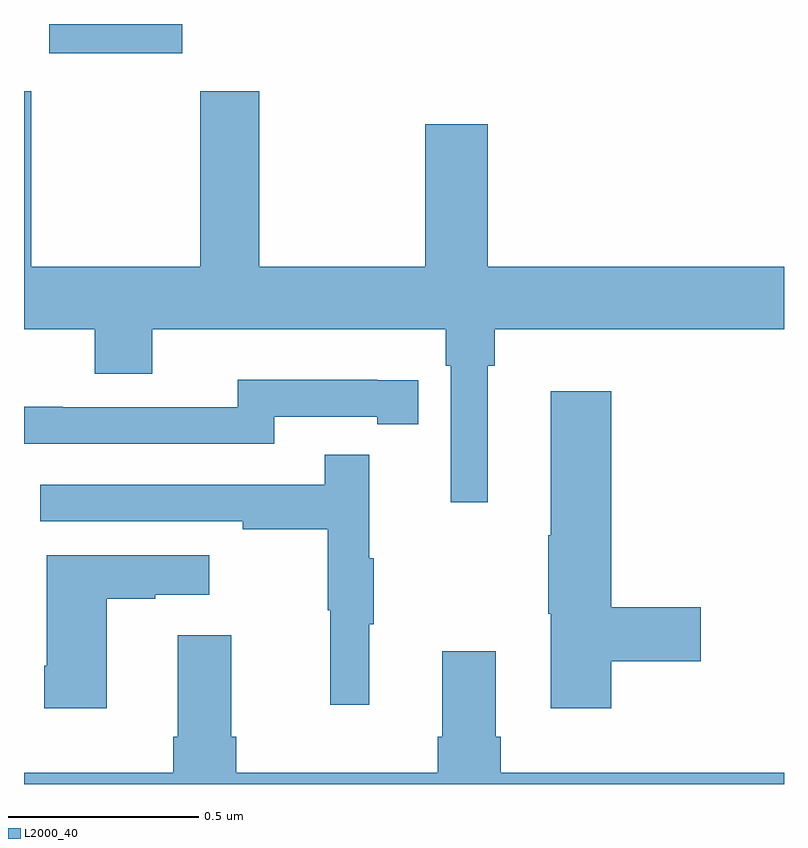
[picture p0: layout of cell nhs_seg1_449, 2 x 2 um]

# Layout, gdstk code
import gdstk
lib = gdstk.Library(unit=1e-6, precision=1e-09)
def R(c, l, rs):  # rectangles x0, y0, x1, y1
    for r in rs: c.add(gdstk.rectangle(r[:2], r[2:], *l))
def P(c, l, *ps):  # polygons
    for p in ps: c.add(gdstk.Polygon(p, *l))
L2000_40 = (2000, 40)

nhs_seg1_449 = lib.new_cell('nhs_seg1_449')
R(nhs_seg1_449, L2000_40, [(116.066,555.122,116.416,555.199)])
P(nhs_seg1_449, L2000_40, [(117.22,554.3),(117.239,554.3),(117.239,554.396),(118,554.396),(118,554.56),(117.22,554.56),(117.22,554.935),(117.056,554.935),(117.056,554.56),(116.619,554.56),(116.619,555.022),(116.464,555.022),(116.464,554.56),(116.019,554.56),(116.019,555.022),(116,555.022),(116,554.396),(116.186,554.396),(116.186,554.279),(116.338,554.279),(116.338,554.396),(117.11,554.396),(117.11,554.3),(117.123,554.3),(117.123,553.941),(117.22,553.941)],
  [(116.658,554.166),(116.93,554.166),(116.93,554.146),(117.038,554.146),(117.038,554.262),(116.93,554.262),(116.93,554.263),(116.562,554.263),(116.562,554.19),(116.102,554.19),(116.102,554.192),(116,554.192),(116,554.094),(116.658,554.094)],
  [(117.545,553.522),(117.781,553.522),(117.781,553.664),(117.545,553.664),(117.545,554.233),(117.386,554.233),(117.386,553.853),(117.379,553.853),(117.379,553.647),(117.386,553.647),(117.386,553.398),(117.545,553.398)],
  [(116.909,553.619),(116.92,553.619),(116.92,553.793),(116.909,553.793),(116.909,554.065),(116.791,554.065),(116.791,553.986),(116.043,553.986),(116.043,553.89),(116.575,553.89),(116.575,553.87),(116.799,553.87),(116.799,553.656),(116.806,553.656),(116.806,553.407),(116.909,553.407)],
  [(116.218,553.687),(116.345,553.687),(116.345,553.697),(116.488,553.697),(116.488,553.801),(116.06,553.801),(116.06,553.51),(116.053,553.51),(116.053,553.398),(116.218,553.398)],
  [(118,553.228),(117.254,553.228),(117.254,553.324),(117.241,553.324),(117.241,553.549),(117.101,553.549),(117.101,553.324),(117.089,553.324),(117.089,553.228),(116.558,553.228),(116.558,553.324),(116.545,553.324),(116.545,553.591),(116.405,553.591),(116.405,553.324),(116.393,553.324),(116.393,553.228),(116,553.228),(116,553.199),(118,553.199)])

lib.write_gds('nhs_seg1_449.gds')
